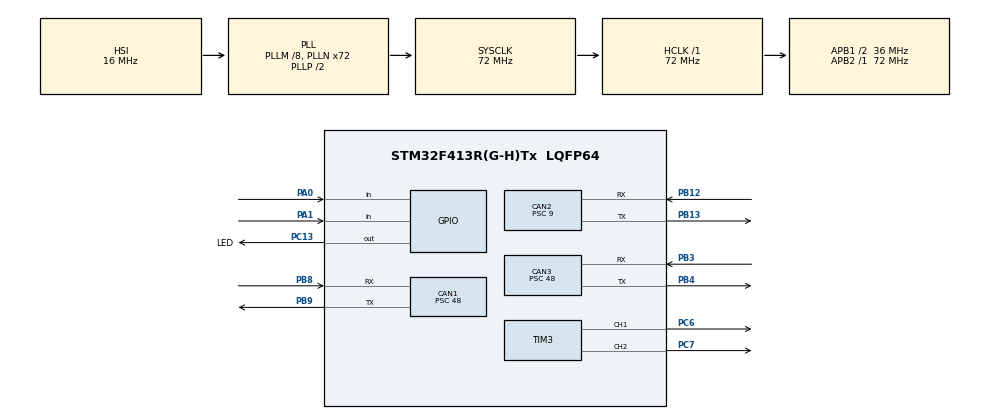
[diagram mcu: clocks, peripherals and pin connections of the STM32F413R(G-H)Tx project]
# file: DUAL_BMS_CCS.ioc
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CAN1.ABOM=DISABLE
CAN1.AWUM=DISABLE
CAN1.BS1=CAN_BS1_2TQ
CAN1.BS2=CAN_BS2_3TQ
CAN1.CalculateBaudRate=124999
CAN1.CalculateTimeBit=8000
CAN1.CalculateTimeQuantum=1333.3333333333335
CAN1.Mode=CAN_MODE_NORMAL
CAN1.NART=DISABLE
CAN1.Prescaler=48
CAN1.RFLM=DISABLE
CAN1.SJW=CAN_SJW_1TQ
CAN1.TTCM=DISABLE
CAN1.TXFP=DISABLE
CAN2.ABOM=DISABLE
CAN2.AWUM=DISABLE
CAN2.BS1=CAN_BS1_4TQ
CAN2.BS2=CAN_BS2_3TQ
CAN2.CalculateBaudRate=500000
CAN2.CalculateTimeBit=2000
CAN2.CalculateTimeQuantum=250.0
CAN2.Mode=CAN_MODE_NORMAL
CAN2.NART=DISABLE
CAN2.Prescaler=9
CAN2.RFLM=DISABLE
CAN2.SJW=CAN_SJW_1TQ
CAN2.TTCM=DISABLE
CAN2.TXFP=DISABLE
CAN3.ABOM=DISABLE
CAN3.AWUM=DISABLE
CAN3.BS1=CAN_BS1_2TQ
CAN3.BS2=CAN_BS2_3TQ
CAN3.CalculateBaudRate=124999
CAN3.CalculateTimeBit=8000
CAN3.CalculateTimeQuantum=1333.3333333333335
CAN3.Mode=CAN_MODE_NORMAL
CAN3.NART=DISABLE
CAN3.Prescaler=48
CAN3.RFLM=DISABLE
CAN3.SJW=CAN_SJW_1TQ
CAN3.TTCM=DISABLE
CAN3.TXFP=DISABLE
Dma.Request0=TIM2_CH1
Dma.Request1=TIM2_CH2/CH4
Dma.Request2=TIM2_UP/CH3
Dma.TIM2_CH1.0.Direction=DMA_MEMORY_TO_PERIPH
Dma.TIM2_CH1.0.FIFOMode=DMA_FIFOMODE_DISABLE
Dma.TIM2_CH1.0.Instance=DMA1_Stream5
Dma.TIM2_CH1.0.MemDataAlignment=DMA_MDATAALIGN_WORD
Dma.TIM2_CH1.0.MemInc=DMA_MINC_DISABLE
Dma.TIM2_CH1.0.Mode=DMA_NORMAL
Dma.TIM2_CH1.0.PeriphDataAlignment=DMA_PDATAALIGN_WORD
Dma.TIM2_CH1.0.PeriphInc=DMA_PINC_DISABLE
Dma.TIM2_CH1.0.Priority=DMA_PRIORITY_HIGH
Dma.TIM2_CH2/CH4.1.Direction=DMA_MEMORY_TO_PERIPH
Dma.TIM2_CH2/CH4.1.FIFOMode=DMA_FIFOMODE_DISABLE
Dma.TIM2_CH2/CH4.1.Instance=DMA1_Stream6
Dma.TIM2_CH2/CH4.1.MemDataAlignment=DMA_MDATAALIGN_WORD
Dma.TIM2_CH2/CH4.1.MemInc=DMA_MINC_ENABLE
Dma.TIM2_CH2/CH4.1.Mode=DMA_NORMAL
Dma.TIM2_CH2/CH4.1.PeriphDataAlignment=DMA_PDATAALIGN_WORD
Dma.TIM2_CH2/CH4.1.PeriphInc=DMA_PINC_DISABLE
Dma.TIM2_CH2/CH4.1.Priority=DMA_PRIORITY_HIGH
Dma.TIM2_UP/CH3.2.Direction=DMA_MEMORY_TO_PERIPH
Dma.TIM2_UP/CH3.2.FIFOMode=DMA_FIFOMODE_DISABLE
Dma.TIM2_UP/CH3.2.Instance=DMA1_Stream1
Dma.TIM2_UP/CH3.2.MemDataAlignment=DMA_MDATAALIGN_WORD
Dma.TIM2_UP/CH3.2.MemInc=DMA_MINC_DISABLE
Dma.TIM2_UP/CH3.2.Mode=DMA_NORMAL
Dma.TIM2_UP/CH3.2.PeriphDataAlignment=DMA_PDATAALIGN_WORD
Dma.TIM2_UP/CH3.2.PeriphInc=DMA_PINC_DISABLE
Dma.TIM2_UP/CH3.2.Priority=DMA_PRIORITY_HIGH
FREERTOS.HEAP_NUMBER=4
FREERTOS.INCLUDE_eTaskGetState=1
FREERTOS.INCLUDE_pcTaskGetTaskName=0
FREERTOS.INCLUDE_uxTaskGetStackHighWaterMark=1
FREERTOS.INCLUDE_uxTaskGetStackHighWaterMark2=0
FREERTOS.INCLUDE_uxTaskPriorityGet=1
FREERTOS.INCLUDE_vTaskCleanUpResources=0
FREERTOS.INCLUDE_vTaskDelay=1
FREERTOS.INCLUDE_vTaskDelayUntil=1
FREERTOS.INCLUDE_vTaskDelete=1
FREERTOS.INCLUDE_vTaskPrioritySet=1
FREERTOS.INCLUDE_vTaskSuspend=1
FREERTOS.INCLUDE_xEventGroupSetBitFromISR=0
FREERTOS.INCLUDE_xQueueGetMutexHolder=1
FREERTOS.INCLUDE_xSemaphoreGetMutexHolder=0
FREERTOS.INCLUDE_xTaskAbortDelay=0
FREERTOS.INCLUDE_xTaskGetCurrentTaskHandle=0
FREERTOS.INCLUDE_xTaskGetHandle=0
FREERTOS.INCLUDE_xTaskGetSchedulerState=1
FREERTOS.INCLUDE_xTaskResumeFromISR=1
FREERTOS.INCLUDE_xTimerPendFunctionCall=1
FREERTOS.Queues01=canTxQueue,16,uint16_t,0,Static,canTxQueueBuffer,canTxQueueControlBlock
FREERTOS.Tasks01=defaultTask,25,128,StartDefaultTask,Default,NULL,Dynamic,NULL,NULL;synchCommand,24,128,StartsynchCommand,Default,NULL,Dynamic,NULL,NULL;balanceCommand,26,128,StartbalanceCommand,Default,NULL,Dynamic,NULL,NULL;processData,27,128,StartprocessData,Default,NULL,Dynamic,NULL,NULL;kickTheDog,48,128,StartkickTheDog,Default,NULL,Dynamic,NULL,NULL;canTxTask,47,128,StartcanTxTask,Default,NULL,Dynamic,NULL,NULL
FREERTOS.configCHECK_FOR_STACK_OVERFLOW=0
FREERTOS.configENABLE_BACKWARD_COMPATIBILITY=1
FREERTOS.configENABLE_FPU=0
FREERTOS.configGENERATE_RUN_TIME_STATS=0
FREERTOS.configIDLE_SHOULD_YIELD=1
FREERTOS.configLIBRARY_LOWEST_INTERRUPT_PRIORITY=15
FREERTOS.configLIBRARY_MAX_SYSCALL_INTERRUPT_PRIORITY=5
FREERTOS.configMAX_CO_ROUTINE_PRIORITIES=2
FREERTOS.configMAX_TASK_NAME_LEN=16
FREERTOS.configMINIMAL_STACK_SIZE=128
FREERTOS.configQUEUE_REGISTRY_SIZE=8
FREERTOS.configRECORD_STACK_HIGH_ADDRESS=0
FREERTOS.configTICK_RATE_HZ=1000
FREERTOS.configTIMER_QUEUE_LENGTH=10
FREERTOS.configTIMER_TASK_PRIORITY=2
FREERTOS.configTIMER_TASK_STACK_DEPTH=256
FREERTOS.configTOTAL_HEAP_SIZE=15360
FREERTOS.configUSE_APPLICATION_TASK_TAG=0
FREERTOS.configUSE_COUNTING_SEMAPHORES=1
FREERTOS.configUSE_CO_ROUTINES=0
FREERTOS.configUSE_DAEMON_TASK_STARTUP_HOOK=0
FREERTOS.configUSE_IDLE_HOOK=0
FREERTOS.configUSE_MALLOC_FAILED_HOOK=0
FREERTOS.configUSE_MUTEXES=1
FREERTOS.configUSE_NEWLIB_REENTRANT=0
FREERTOS.configUSE_POSIX_ERRNO=0
FREERTOS.configUSE_PREEMPTION=1
FREERTOS.configUSE_RECURSIVE_MUTEXES=1
FREERTOS.configUSE_STATS_FORMATTING_FUNCTIONS=0
FREERTOS.configUSE_TASK_NOTIFICATIONS=1
FREERTOS.configUSE_TICKLESS_IDLE=0
FREERTOS.configUSE_TICK_HOOK=0
FREERTOS.configUSE_TRACE_FACILITY=1
FREERTOS.copyHeapFile=1
IWDG.Prescaler=IWDG_PRESCALER_8
IWDG.Reload=1999
Mcu.Family=STM32F4
Mcu.Name=STM32F413R(G-H)Tx
Mcu.Package=LQFP64
NVIC.CAN1_RX0_IRQn=true\:5\:0\:false\:false\:true\:true\:true\:true
NVIC.CAN2_RX1_IRQn=true\:5\:0\:false\:false\:true\:true\:true\:true
NVIC.CAN3_RX0_IRQn=true\:5\:0\:false\:false\:true\:true\:true\:true
NVIC.DMA1_Stream1_IRQn=true\:5\:0\:false\:false\:true\:true\:false\:true
NVIC.DMA1_Stream5_IRQn=true\:5\:0\:false\:false\:true\:true\:false\:true
NVIC.DMA1_Stream6_IRQn=true\:5\:0\:false\:false\:true\:true\:false\:true
NVIC.PriorityGroup=NVIC_PRIORITYGROUP_4
NVIC.TIM2_IRQn=true\:5\:0\:false\:false\:true\:true\:true\:true
NVIC.TIM7_IRQn=true\:0\:0\:false\:false\:true\:false\:true\:true
NVIC.TimeBase=TIM7_IRQn
NVIC.TimeBaseIP=TIM7
PA0.Signal=GPIO_Input
PA1.Signal=GPIO_Input
PA13.Mode=Serial_Wire
PA13.Signal=SYS_JTMS-SWDIO
PA14.Mode=Serial_Wire
PA14.Signal=SYS_JTCK-SWCLK
PB12.Mode=CAN_Activate
PB12.Signal=CAN2_RX
PB13.Mode=CAN_Activate
PB13.Signal=CAN2_TX
PB3.Mode=CAN_Activate
PB3.Signal=CAN3_RX
PB4.Mode=CAN_Activate
PB4.Signal=CAN3_TX
PB8.Mode=CAN_Activate
PB8.Signal=CAN1_RX
PB9.Mode=CAN_Activate
PB9.Signal=CAN1_TX
PC13.GPIO_Label=LED
PC13.Signal=GPIO_Output
PC14-OSC32_IN.Mode=LSE-External-Oscillator
PC14-OSC32_IN.Signal=RCC_OSC32_IN
PC15-OSC32_OUT.Mode=LSE-External-Oscillator
PC15-OSC32_OUT.Signal=RCC_OSC32_OUT
PC6.Signal=S_TIM3_CH1
PC7.Signal=S_TIM3_CH2
PH0\ -\ OSC_IN.Mode=HSE-External-Oscillator
PH0\ -\ OSC_IN.Signal=RCC_OSC_IN
PH1\ -\ OSC_OUT.Mode=HSE-External-Oscillator
PH1\ -\ OSC_OUT.Signal=RCC_OSC_OUT
ProjectManager.HeapSize=0x200
ProjectManager.StackSize=0x400
ProjectManager.TargetToolchain=Makefile
RCC.AHBFreq_Value=72000000
RCC.APB1CLKDivider=RCC_HCLK_DIV2
RCC.APB1Freq_Value=36000000
RCC.APB1TimFreq_Value=72000000
RCC.APB2Freq_Value=72000000
RCC.APB2TimFreq_Value=72000000
RCC.CortexFreq_Value=72000000
RCC.HCLKFreq_Value=72000000
RCC.HSE_VALUE=8000000
RCC.PLLM=8
RCC.PLLN=72
RCC.SYSCLKFreq_VALUE=72000000
RCC.SYSCLKSource=RCC_SYSCLKSOURCE_PLLCLK
RCC.USBFreq_Value=72000000
RCC.VCOOutputFreq_Value=144000000
SH.S_TIM3_CH1.0=TIM3_CH1,PWM Generation1 CH1
SH.S_TIM3_CH2.0=TIM3_CH2,PWM Generation2 CH2
TIM2.Channel-Output\ Compare1\ No\ Output=TIM_CHANNEL_1
TIM2.Channel-PWM\ Generation2\ No\ Output=TIM_CHANNEL_2
TIM2.Period=29
TIM2.Prescaler=3-1
TIM2.Pulse-Output\ Compare1\ No\ Output=8
TIM2.Pulse-PWM\ Generation2\ No\ Output=17
TIM3.Channel-PWM\ Generation1\ CH1=TIM_CHANNEL_1
TIM3.Channel-PWM\ Generation2\ CH2=TIM_CHANNEL_2
VP_FREERTOS_VS_CMSIS_V2.Mode=CMSIS_V2
VP_IWDG_VS_IWDG.Mode=IWDG_Activate
VP_SYS_VS_tim7.Mode=TIM7
VP_TIM2_VS_no_output1.Mode=Output Compare1 No Output
VP_TIM2_VS_no_output2.Mode=PWM Generation2 No Output
board=custom

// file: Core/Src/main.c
/* USER CODE BEGIN Header */
/**
  ******************************************************************************
  * @file           : main.c
  * @brief          : Main program body
  ******************************************************************************
  * @attention
  *
  * <h2><center>&copy; Copyright (c) 2021 STMicroelectronics.
  * All rights reserved.</center></h2>
  *
  * This software component is licensed by ST under Ultimate Liberty license
  * SLA0044, the "License"; You may not use this file except in compliance with
  * the License. You may obtain a copy of the License at:
  *                             www.st.com/SLA0044
  *
  ******************************************************************************
  */
/* USER CODE END Header */
#include "main.h"
#include "cmsis_os.h"

/* USER CODE BEGIN Includes */
#include "bms.h"
#include "can_setup.h"
#include "visEffect.h"
#include "ws2812b.h"

//#include "visEffect.h"
/* USER CODE END Includes */

typedef StaticQueue_t osStaticMessageQDef_t;

CAN_HandleTypeDef hcan1;
CAN_HandleTypeDef hcan2;
CAN_HandleTypeDef hcan3;

IWDG_HandleTypeDef hiwdg;

TIM_HandleTypeDef htim2;
TIM_HandleTypeDef htim3;
DMA_HandleTypeDef hdma_tim2_ch1;
DMA_HandleTypeDef hdma_tim2_ch2_ch4;
DMA_HandleTypeDef hdma_tim2_up_ch3;

/* Definitions for defaultTask */
osThreadId_t defaultTaskHandle;
const osThreadAttr_t defaultTask_attributes = {
    .name = "defaultTask",
    .priority = (osPriority_t)osPriorityNormal,
    .stack_size = 128 * 4};
/* Definitions for synchCommand */
osThreadId_t synchCommandHandle;
const osThreadAttr_t synchCommand_attributes = {
    .name = "synchCommand",
    .priority = (osPriority_t)osPriorityNormal,
    .stack_size = 128 * 4};
/* Definitions for balanceCommand */
osThreadId_t balanceCommandHandle;
const osThreadAttr_t balanceCommand_attributes = {
    .name = "balanceCommand",
    .priority = (osPriority_t)osPriorityNormal,
    .stack_size = 128 * 4};
/* Definitions for processData */
osThreadId_t processDataHandle;
const osThreadAttr_t processData_attributes = {
    .name = "processData",
    .priority = (osPriority_t)osPriorityNormal,
    .stack_size = 128 * 4};
/* Definitions for kickTheDog */
osThreadId_t kickTheDogHandle;
const osThreadAttr_t kickTheDog_attributes = {
    .name = "kickTheDog",
    .priority = (osPriority_t)osPriorityRealtime,
    .stack_size = 128 * 4};
/* Definitions for canTxTask */
osThreadId_t canTxTaskHandle;
const osThreadAttr_t canTxTask_attributes = {
    .name = "canTxTask",
    .priority = (osPriority_t)osPriorityNormal,
    .stack_size = 128 * 4};
/* Definitions for canTxQueue */
osMessageQueueId_t canTxQueueHandle;
uint8_t canTxQueueBuffer[16 * sizeof(uint16_t)];
osStaticMessageQDef_t canTxQueueControlBlock;
const osMessageQueueAttr_t canTxQueue_attributes = {
    .name = "canTxQueue",
    .cb_mem = &canTxQueueControlBlock,
    .cb_size = sizeof(canTxQueueControlBlock),
    .mq_mem = &canTxQueueBuffer,
    .mq_size = sizeof(canTxQueueBuffer)};

void SystemClock_Config(void);
static void MX_GPIO_Init(void);
static void MX_DMA_Init(void);
static void MX_CAN1_Init(void);
static void MX_CAN2_Init(void);
static void MX_CAN3_Init(void);
static void MX_TIM2_Init(void);
static void MX_TIM3_Init(void);
static void MX_IWDG_Init(void);
void StartDefaultTask(void *argument);
void StartsynchCommand(void *argument);
void StartbalanceCommand(void *argument);
void StartprocessData(void *argument);
void StartkickTheDog(void *argument);
void StartcanTxTask(void *argument);

int main(void)
{

  /* MCU Configuration--------------------------------------------------------*/

  /* Reset of all peripherals, Initializes the Flash interface and the Systick. */
  HAL_Init();

  /* Configure the system clock */
  SystemClock_Config();

  /* Initialize all configured peripherals */
  MX_GPIO_Init();
  MX_DMA_Init();
  MX_CAN1_Init();
  MX_CAN2_Init();
  MX_CAN3_Init();
  MX_TIM2_Init();
  MX_TIM3_Init();
  MX_IWDG_Init();
  /* USER CODE BEGIN 2 */
  canSettings();
  visInit();
  initBMS();
  /* USER CODE END 2 */

  /* Init scheduler */
  osKernelInitialize();

  /* Create the queue(s) */
  /* creation of canTxQueue */
  canTxQueueHandle = osMessageQueueNew(16, sizeof(uint16_t), &canTxQueue_attributes);

  /* Create the thread(s) */
  /* creation of defaultTask */
  defaultTaskHandle = osThreadNew(StartDefaultTask, NULL, &defaultTask_attributes);

  /* creation of synchCommand */
  synchCommandHandle = osThreadNew(StartsynchCommand, NULL, &synchCommand_attributes);

  /* creation of balanceCommand */
  balanceCommandHandle = osThreadNew(StartbalanceCommand, NULL, &balanceCommand_attributes);

  /* creation of processData */
  processDataHandle = osThreadNew(StartprocessData, NULL, &processData_attributes);

  /* creation of kickTheDog */
  kickTheDogHandle = osThreadNew(StartkickTheDog, NULL, &kickTheDog_attributes);

  /* creation of canTxTask */
  canTxTaskHandle = osThreadNew(StartcanTxTask, NULL, &canTxTask_attributes);

  /* Start scheduler */
  osKernelStart();

  /* We should never get here as control is now taken by the scheduler */
  /* Infinite loop */
  while (1)
  {

  }
}

void SystemClock_Config(void)
{
  RCC_OscInitTypeDef RCC_OscInitStruct = {0};
  RCC_ClkInitTypeDef RCC_ClkInitStruct = {0};

  /** Configure the main internal regulator output voltage
  */
  __HAL_RCC_PWR_CLK_ENABLE();
  __HAL_PWR_VOLTAGESCALING_CONFIG(PWR_REGULATOR_VOLTAGE_SCALE1);
  /** Initializes the RCC Oscillators according to the specified parameters
  * in the RCC_OscInitTypeDef structure.
  */
  RCC_OscInitStruct.OscillatorType = RCC_OSCILLATORTYPE_HSI | RCC_OSCILLATORTYPE_LSI;
  RCC_OscInitStruct.HSIState = RCC_HSI_ON;
  RCC_OscInitStruct.HSICalibrationValue = RCC_HSICALIBRATION_DEFAULT;
  RCC_OscInitStruct.LSIState = RCC_LSI_ON;
  RCC_OscInitStruct.PLL.PLLState = RCC_PLL_ON;
  RCC_OscInitStruct.PLL.PLLSource = RCC_PLLSOURCE_HSI;
  RCC_OscInitStruct.PLL.PLLM = 8;
  RCC_OscInitStruct.PLL.PLLN = 72;
  RCC_OscInitStruct.PLL.PLLP = RCC_PLLP_DIV2;
  RCC_OscInitStruct.PLL.PLLQ = 2;
  RCC_OscInitStruct.PLL.PLLR = 2;
  if (HAL_RCC_OscConfig(&RCC_OscInitStruct) != HAL_OK)
  {
    Error_Handler();
  }
  /** Initializes the CPU, AHB and APB buses clocks
  */
  RCC_ClkInitStruct.ClockType = RCC_CLOCKTYPE_HCLK | RCC_CLOCKTYPE_SYSCLK | RCC_CLOCKTYPE_PCLK1 | RCC_CLOCKTYPE_PCLK2;
  RCC_ClkInitStruct.SYSCLKSource = RCC_SYSCLKSOURCE_PLLCLK;
  RCC_ClkInitStruct.AHBCLKDivider = RCC_SYSCLK_DIV1;
  RCC_ClkInitStruct.APB1CLKDivider = RCC_HCLK_DIV2;
  RCC_ClkInitStruct.APB2CLKDivider = RCC_HCLK_DIV1;

  if (HAL_RCC_ClockConfig(&RCC_ClkInitStruct, FLASH_LATENCY_2) != HAL_OK)
  {
    Error_Handler();
  }
}

static void MX_CAN1_Init(void)
{

  hcan1.Instance = CAN1;
  hcan1.Init.Prescaler = 48;
  hcan1.Init.Mode = CAN_MODE_NORMAL;
  hcan1.Init.SyncJumpWidth = CAN_SJW_1TQ;
  hcan1.Init.TimeSeg1 = CAN_BS1_2TQ;
  hcan1.Init.TimeSeg2 = CAN_BS2_3TQ;
  hcan1.Init.TimeTriggeredMode = DISABLE;
  hcan1.Init.AutoBusOff = ENABLE;
  hcan1.Init.AutoWakeUp = DISABLE;
  hcan1.Init.AutoRetransmission = DISABLE;
  hcan1.Init.ReceiveFifoLocked = DISABLE;
  hcan1.Init.TransmitFifoPriority = DISABLE;
  if (HAL_CAN_Init(&hcan1) != HAL_OK)
  {
    Error_Handler();
  }
}

static void MX_CAN2_Init(void)
{

  /* USER CODE BEGIN CAN2_Init 1 */
   //{ CAN_BTR_TS1_4TQ, CAN_BTR_TS2_3TQ, 9 }, //500kbps
  /* USER CODE END CAN2_Init 1 */
  hcan2.Instance = CAN2;
  hcan2.Init.Prescaler = 9;//12;
  hcan2.Init.Mode = CAN_MODE_NORMAL;
  hcan2.Init.SyncJumpWidth = CAN_SJW_1TQ;
  hcan2.Init.TimeSeg1 = CAN_BS1_4TQ;//CAN_BS1_2TQ;
  hcan2.Init.TimeSeg2 = CAN_BS2_3TQ;//CAN_BS2_3TQ;
  hcan2.Init.TimeTriggeredMode = DISABLE;
  hcan2.Init.AutoBusOff = ENABLE;
  hcan2.Init.AutoWakeUp = DISABLE;
  hcan2.Init.AutoRetransmission = DISABLE;
  hcan2.Init.ReceiveFifoLocked = DISABLE;
  hcan2.Init.TransmitFifoPriority = DISABLE;
  if (HAL_CAN_Init(&hcan2) != HAL_OK)
  {
    Error_Handler();
  }
}

static void MX_CAN3_Init(void)
{

  hcan3.Instance = CAN3;
  hcan3.Init.Prescaler = 48;
  hcan3.Init.Mode = CAN_MODE_NORMAL;
  hcan3.Init.SyncJumpWidth = CAN_SJW_1TQ;
  hcan3.Init.TimeSeg1 = CAN_BS1_2TQ;
  hcan3.Init.TimeSeg2 = CAN_BS2_3TQ;
  hcan3.Init.TimeTriggeredMode = DISABLE;
  hcan3.Init.AutoBusOff = ENABLE;
  hcan3.Init.AutoWakeUp = DISABLE;
  hcan3.Init.AutoRetransmission = DISABLE;
  hcan3.Init.ReceiveFifoLocked = DISABLE;
  hcan3.Init.TransmitFifoPriority = DISABLE;
  if (HAL_CAN_Init(&hcan3) != HAL_OK)
  {
    Error_Handler();
  }
}

static void MX_IWDG_Init(void)
{

  hiwdg.Instance = IWDG;
  hiwdg.Init.Prescaler = IWDG_PRESCALER_8;
  hiwdg.Init.Reload = 2000;
  if (HAL_IWDG_Init(&hiwdg) != HAL_OK)
  {
    Error_Handler();
  }
}

static void MX_TIM2_Init(void)
{

  TIM_MasterConfigTypeDef sMasterConfig = {0};
  TIM_OC_InitTypeDef sConfigOC = {0};

  htim2.Instance = TIM2;
  htim2.Init.Prescaler = 3 - 1;
  htim2.Init.CounterMode = TIM_COUNTERMODE_UP;
  htim2.Init.Period = 29;
  htim2.Init.ClockDivision = TIM_CLOCKDIVISION_DIV1;
  htim2.Init.AutoReloadPreload = TIM_AUTORELOAD_PRELOAD_DISABLE;
  if (HAL_TIM_OC_Init(&htim2) != HAL_OK)
  {
    Error_Handler();
  }
  if (HAL_TIM_PWM_Init(&htim2) != HAL_OK)
  {
    Error_Handler();
  }
  sMasterConfig.MasterOutputTrigger = TIM_TRGO_RESET;
  sMasterConfig.MasterSlaveMode = TIM_MASTERSLAVEMODE_DISABLE;
  if (HAL_TIMEx_MasterConfigSynchronization(&htim2, &sMasterConfig) != HAL_OK)
  {
    Error_Handler();
  }
  sConfigOC.OCMode = TIM_OCMODE_TIMING;
  sConfigOC.Pulse = 8;
  sConfigOC.OCPolarity = TIM_OCPOLARITY_HIGH;
  sConfigOC.OCFastMode = TIM_OCFAST_DISABLE;
  if (HAL_TIM_OC_ConfigChannel(&htim2, &sConfigOC, TIM_CHANNEL_1) != HAL_OK)
  {
    Error_Handler();
  }
  sConfigOC.OCMode = TIM_OCMODE_PWM1;
  sConfigOC.Pulse = 17;
  if (HAL_TIM_PWM_ConfigChannel(&htim2, &sConfigOC, TIM_CHANNEL_2) != HAL_OK)
  {
    Error_Handler();
  }
}

static void MX_TIM3_Init(void)
{

  TIM_MasterConfigTypeDef sMasterConfig = {0};
  TIM_OC_InitTypeDef sConfigOC = {0};

  htim3.Instance = TIM3;
  htim3.Init.Prescaler = 0;
  htim3.Init.CounterMode = TIM_COUNTERMODE_UP;
  htim3.Init.Period = 65535;
  htim3.Init.ClockDivision = TIM_CLOCKDIVISION_DIV1;
  htim3.Init.AutoReloadPreload = TIM_AUTORELOAD_PRELOAD_DISABLE;
  if (HAL_TIM_PWM_Init(&htim3) != HAL_OK)
  {
    Error_Handler();
  }
  sMasterConfig.MasterOutputTrigger = TIM_TRGO_RESET;
  sMasterConfig.MasterSlaveMode = TIM_MASTERSLAVEMODE_DISABLE;
  if (HAL_TIMEx_MasterConfigSynchronization(&htim3, &sMasterConfig) != HAL_OK)
  {
    Error_Handler();
  }
  sConfigOC.OCMode = TIM_OCMODE_PWM1;
  sConfigOC.Pulse = 0;
  sConfigOC.OCPolarity = TIM_OCPOLARITY_HIGH;
  sConfigOC.OCFastMode = TIM_OCFAST_DISABLE;
  if (HAL_TIM_PWM_ConfigChannel(&htim3, &sConfigOC, TIM_CHANNEL_1) != HAL_OK)
  {
    Error_Handler();
  }
  if (HAL_TIM_PWM_ConfigChannel(&htim3, &sConfigOC, TIM_CHANNEL_2) != HAL_OK)
  {
    Error_Handler();
  }
  HAL_TIM_MspPostInit(&htim3);
}

static void MX_DMA_Init(void)
{

  /* DMA controller clock enable */
  __HAL_RCC_DMA1_CLK_ENABLE();

  /* DMA interrupt init */
  /* DMA1_Stream1_IRQn interrupt configuration */
  HAL_NVIC_SetPriority(DMA1_Stream1_IRQn, 5, 0);
  HAL_NVIC_EnableIRQ(DMA1_Stream1_IRQn);
  /* DMA1_Stream5_IRQn interrupt configuration */
  HAL_NVIC_SetPriority(DMA1_Stream5_IRQn, 5, 0);
  HAL_NVIC_EnableIRQ(DMA1_Stream5_IRQn);
  /* DMA1_Stream6_IRQn interrupt configuration */
  HAL_NVIC_SetPriority(DMA1_Stream6_IRQn, 5, 0);
  HAL_NVIC_EnableIRQ(DMA1_Stream6_IRQn);
}

static void MX_GPIO_Init(void)
{
  GPIO_InitTypeDef GPIO_InitStruct = {0};

  /* GPIO Ports Clock Enable */
  __HAL_RCC_GPIOC_CLK_ENABLE();
  __HAL_RCC_GPIOH_CLK_ENABLE();
  __HAL_RCC_GPIOA_CLK_ENABLE();
  __HAL_RCC_GPIOB_CLK_ENABLE();

  /*Configure GPIO pin Output Level */
  HAL_GPIO_WritePin(LED_GPIO_Port, LED_Pin, GPIO_PIN_RESET);

  /*Configure GPIO pin : LED_Pin */
  GPIO_InitStruct.Pin = LED_Pin;
  GPIO_InitStruct.Mode = GPIO_MODE_OUTPUT_PP;
  GPIO_InitStruct.Pull = GPIO_NOPULL;
  GPIO_InitStruct.Speed = GPIO_SPEED_FREQ_LOW;
  HAL_GPIO_Init(LED_GPIO_Port, &GPIO_InitStruct);

  /*Configure GPIO pins : PA0 PA1 */
  GPIO_InitStruct.Pin = GPIO_PIN_0 | GPIO_PIN_1;
  GPIO_InitStruct.Mode = GPIO_MODE_INPUT;
  GPIO_InitStruct.Pull = GPIO_NOPULL;
  HAL_GPIO_Init(GPIOA, &GPIO_InitStruct);
}

void StartDefaultTask(void *argument)
{
  /* USER CODE BEGIN 5 */
  /* Infinite loop */
  for (;;)
  {
    visHandle();
    bmsStateHandler(&BMS[0]);
    bmsStateHandler(&BMS[1]);
    HAL_IWDG_Refresh(&hiwdg);
    //acChargeCommand();

    osDelay(10);
  }
  /* USER CODE END 5 */
}

void StartsynchCommand(void *argument)
{
  /* USER CODE BEGIN StartsynchCommand */
  /* Infinite loop */
  for (;;)
  {
    synchChargers();

    osDelay(5000);
  }
  /* USER CODE END StartsynchCommand */
}

void StartbalanceCommand(void *argument)
{
  /* USER CODE BEGIN StartbalanceCommand */
  /* Infinite loop */
  for (;;)
  {
    if (BMS[0].balancecells)
    {
      balanceCommand(&BMS[0], 0);
    }

    if (BMS[1].balancecells)
    {
      balanceCommand(&BMS[1], 1);
    }

    requestBICMdata(&BMS[0], 0);
    requestBICMdata(&BMS[1], 1);
    HAL_IWDG_Refresh(&hiwdg);

    osDelay(200);
  }
  /* USER CODE END StartbalanceCommand */
}

void StartprocessData(void *argument)
{
  /* USER CODE BEGIN StartprocessData */
  /* Infinite loop */
  for (;;)
  {
    refreshData();
    tx500kData();
    acChargeCommand();
    osDelay(1000);
  }
  /* USER CODE END StartprocessData */
}

void StartkickTheDog(void *argument)
{
  /* USER CODE BEGIN StartkickTheDog */
  /* Infinite loop */
  for (;;)
  {
    HAL_IWDG_Refresh(&hiwdg);
    osDelay(450);
  }

  /* USER CODE END StartkickTheDog */
}

void StartcanTxTask(void *argument)
{
  /* USER CODE BEGIN StartcanTxTask */
  /* Infinite loop */
  for (;;)
  {
    osDelay(5);
  }
  /* USER CODE END StartcanTxTask */
}

void HAL_TIM_PeriodElapsedCallback(TIM_HandleTypeDef *htim)
{
  /* USER CODE BEGIN Callback 0 */
  if (htim->Instance == TIM1)
  {
    ws2812b.timerPeriodCounter = 0;
    TIM1->CR1 = 0; // disable timer

    // disable the TIM2 Update IRQ
    __HAL_TIM_DISABLE_IT(&TIM1_handle, TIM_IT_UPDATE);

    // Set back 1,25us period
    TIM1->ARR = tim_period;

    // Generate an update event to reload the Prescaler value immediatly
    TIM1->EGR = TIM_EGR_UG;
    __HAL_TIM_CLEAR_FLAG(&TIM1_handle, TIM_FLAG_UPDATE);

    // set transfer_complete flag
    ws2812b.transferComplete = 1;
  }

  /* USER CODE END Callback 0 */
  if (htim->Instance == TIM7)
  {
    HAL_IncTick();
  }
}

void Error_Handler(void)
{
  __disable_irq();
  while (1)
  {
  }
}

/************************ (C) COPYRIGHT STMicroelectronics *****END OF FILE****/
